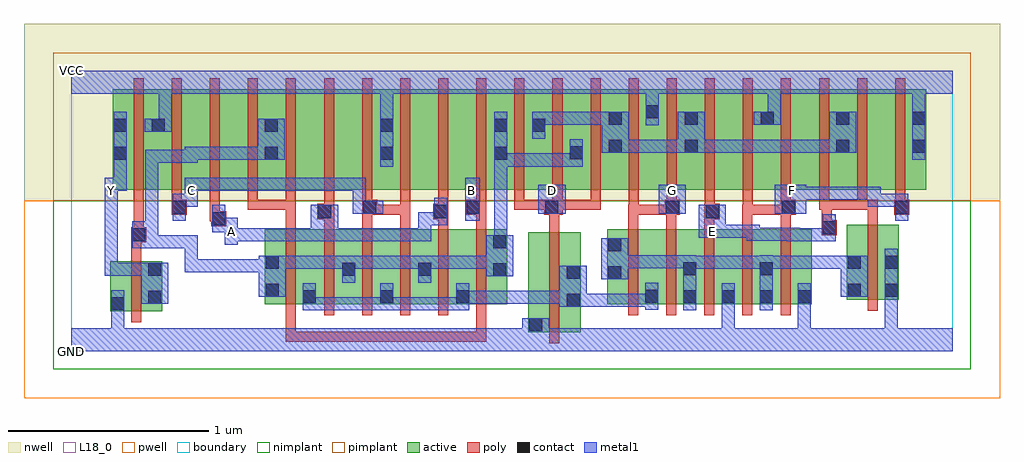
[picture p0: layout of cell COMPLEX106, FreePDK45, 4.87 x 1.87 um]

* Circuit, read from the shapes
.subckt COMPLEX106 A B C D E F G GND VCC Y
M1 Y n1 GND VSUBS nfet w=0.25u l=0.05u
M2 n2 B n1 VSUBS nfet w=0.375u l=0.05u m=2
M3 n1 A n2 VSUBS nfet w=0.375u l=0.05u m=2
M4 n2 C n1 VSUBS nfet w=0.375u l=0.05u m=2
M5 n2 D GND VSUBS nfet w=0.5u l=0.05u
M6 n2 G n3 VSUBS nfet w=0.375u l=0.05u m=2
M7 GND E n3 VSUBS nfet w=0.375u l=0.05u m=2
M8 n3 F GND VSUBS nfet w=0.375u l=0.05u m=2
M9 VCC n1 Y n4 pfet w=0.5u l=0.05u
M10 n5 C VCC n4 pfet w=0.5u l=0.05u
M11 n6 A n5 n4 pfet w=0.5u l=0.05u
M12 n1 B n6 n4 pfet w=0.5u l=0.05u
M13 n7 B n1 n4 pfet w=0.5u l=0.05u
M14 n8 A n7 n4 pfet w=0.5u l=0.05u
M15 VCC C n8 n4 pfet w=0.5u l=0.05u
M16 n9 C VCC n4 pfet w=0.5u l=0.05u
M17 n10 A n9 n4 pfet w=0.5u l=0.05u
M18 n1 B n10 n4 pfet w=0.5u l=0.05u
M19 n11 D n1 n4 pfet w=0.5u l=0.05u m=3
M20 VCC G n11 n4 pfet w=0.5u l=0.05u m=2
M21 n12 E n11 n4 pfet w=0.5u l=0.05u
M22 VCC F n12 n4 pfet w=0.5u l=0.05u
M23 n13 F VCC n4 pfet w=0.5u l=0.05u
M24 n11 E n13 n4 pfet w=0.5u l=0.05u
M25 n14 E n11 n4 pfet w=0.5u l=0.05u
M26 VCC F n14 n4 pfet w=0.5u l=0.05u
.ends

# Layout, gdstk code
import gdstk
lib = gdstk.Library(unit=1e-6, precision=1e-09)
def R(c, l, rs):  # rectangles x0, y0, x1, y1
    for r in rs: c.add(gdstk.rectangle(r[:2], r[2:], *l))
def A(c, l, x, y, w, h, nx, ny, dx, dy):  # array of equal rectangles
    R(c, l, [(x+i*dx, y+j*dy, x+i*dx+w, y+j*dy+h) for i in range(nx) for j in range(ny)])
active = (1, 0)
pwell = (2, 0)
nwell = (3, 0)
nimplant = (4, 0)
pimplant = (5, 0)
poly = (9, 0)
contact = (10, 0)
metal1 = (11, 0)
L18_0 = (18, 0)
boundary = (235, 0)

complex106 = lib.new_cell('COMPLEX106')
A(complex106, active, 1.347, 0.235, 0.265, 0.375, 3, 1, 0.19, 0)
A(complex106, active, 0.622, 0.807, 0.19, 0.5, 3, 1, 0.57, 0)
R(complex106, active, [(2.282,0.095,2.542,0.595), (2.282,0.095,2.357,0.577), (2.467,0.195,2.542,0.595), (0.195,0.2,0.27,0.45), (0.195,0.2,0.455,0.45), (0.38,0.2,0.455,0.45), (0.967,0.235,1.227,0.61), (0.967,0.235,1.042,0.61), (1.152,0.235,1.227,0.512), (1.152,0.235,1.422,0.61), (1.537,0.235,1.612,0.592), (1.917,0.235,2.177,0.61), (1.917,0.235,1.992,0.512), (2.675,0.235,2.935,0.61), (2.86,0.235,2.935,0.467), (2.86,0.235,3.125,0.61), (3.05,0.235,3.125,0.467), (3.05,0.235,3.317,0.61), (3.242,0.235,3.317,0.467), (3.242,0.235,3.505,0.61), (3.43,0.235,3.695,0.61), (3.43,0.235,3.505,0.497), (3.62,0.235,3.695,0.467), (3.87,0.257,4.13,0.632), (3.87,0.267,3.945,0.632), (4.055,0.267,4.13,0.632), (1.347,0.32,1.422,0.592), (1.727,0.32,1.802,0.592), (2.102,0.32,2.177,0.61), (2.675,0.32,2.75,0.61), (0.207,0.807,0.282,1.2), (0.207,0.807,0.472,1.307), (0.397,0.807,0.472,1.305), (0.397,0.807,0.622,1.307), (0.812,0.807,1.037,1.307), (0.962,0.807,1.192,1.307), (0.962,0.807,1.037,1.2), (1.382,0.807,1.612,1.307), (1.537,0.807,1.612,1.305), (1.537,0.807,1.762,1.307), (1.952,0.807,2.182,1.307), (2.107,0.807,2.182,1.2), (2.107,0.807,2.37,1.307), (2.295,0.807,2.37,1.2), (2.295,0.807,2.557,1.307), (2.482,0.807,2.752,1.307), (2.482,0.807,2.557,1.07), (2.677,0.807,2.937,1.307), (2.677,0.807,2.752,1.2), (2.862,0.807,2.937,1.305), (2.862,0.807,3.132,1.307), (3.057,0.807,3.282,1.307), (3.057,0.807,3.132,1.2), (3.282,0.807,3.512,1.307), (3.437,0.807,3.662,1.307), (3.437,0.807,3.512,1.307), (3.662,0.807,3.887,1.307), (3.812,0.807,4.042,1.307), (3.812,0.807,3.887,1.2), (4.042,0.807,4.267,1.307), (4.192,0.807,4.267,1.305)])
R(complex106, pwell, [(-0.235,-0.235,4.635,0.75)])
R(complex106, nwell, [(-0.235,0.75,4.635,1.635)])
R(complex106, nimplant, [(-0.09,-0.09,4.49,0.75)])
R(complex106, pimplant, [(-0.09,0.75,4.49,1.49)])
A(complex106, poly, 1.072, 0.18, 0.05, 0.485, 6, 1, 0.19, 0)
A(complex106, poly, 2.78, 0.18, 0.05, 0.485, 5, 1, 0.19, 0)
A(complex106, poly, 2.022, 0.707, 0.05, 0.095, 4, 1, 0.19, 0)
A(complex106, poly, 3.542, 0.707, 0.05, 0.095, 4, 1, 0.19, 0)
A(complex106, poly, 0.312, 0.752, 0.05, 0.61, 21, 1, 0.19, 0)
R(complex106, poly, [(2.387,0.04,2.437,0.65), (1.072,0.047,1.122,0.097), (1.072,0.047,1.122,0.23), (1.072,0.047,1.255,0.097), (1.205,0.047,1.255,0.097), (1.205,0.047,1.255,0.097), (1.205,0.047,1.255,0.097), (1.205,0.047,1.56,0.097), (1.51,0.047,1.56,0.097), (1.51,0.047,1.56,0.097), (1.51,0.047,1.56,0.097), (1.51,0.047,1.725,0.097), (1.675,0.047,1.725,0.097), (1.675,0.047,1.725,0.097), (1.675,0.047,1.725,0.097), (1.675,0.047,1.857,0.097), (1.807,0.047,1.857,0.097), (1.807,0.047,1.857,0.097), (1.807,0.047,1.857,0.097), (1.807,0.047,2.072,0.097), (2.022,0.047,2.072,0.097), (2.022,0.047,2.072,0.097), (2.022,0.047,2.072,0.097), (2.022,0.047,2.072,0.23), (0.3,0.145,0.35,0.505), (3.975,0.202,4.025,0.687), (0.3,0.455,0.35,0.595), (0.3,0.545,0.375,0.62), (0.312,0.57,0.362,0.62), (0.312,0.57,0.362,0.62), (0.312,0.57,0.362,0.802), (3.745,0.58,3.82,0.655), (2.387,0.6,2.437,0.732), (3.745,0.605,3.795,0.757), (1.072,0.615,1.122,0.757), (1.262,0.615,1.312,0.71), (1.452,0.615,1.502,0.732), (1.642,0.615,1.692,0.732), (1.832,0.615,1.882,0.71), (2.022,0.615,2.072,0.732), (2.78,0.615,2.83,0.732), (2.97,0.615,3.02,0.732), (3.16,0.615,3.21,0.71), (3.35,0.615,3.4,0.732), (3.54,0.615,3.59,0.732), (0.7,0.625,0.775,0.7), (3.975,0.637,4.025,0.757), (0.692,0.65,0.742,0.802), (0.692,0.65,0.75,0.7), (0.7,0.65,0.75,0.7), (1.227,0.66,1.312,0.735), (1.807,0.66,1.882,0.735), (3.16,0.66,3.237,0.735), (0.502,0.682,0.577,0.757), (1.452,0.682,1.527,0.757), (1.452,0.682,1.502,0.732), (1.452,0.682,1.502,0.732), (1.477,0.682,1.692,0.732), (1.642,0.682,1.692,0.732), (1.642,0.682,1.692,0.732), (1.642,0.682,1.692,0.732), (1.642,0.682,1.692,0.732), (1.642,0.682,1.692,0.732), (1.642,0.682,1.692,0.802), (1.97,0.682,2.072,0.757), (2.022,0.682,2.072,0.732), (2.022,0.682,2.072,0.732), (2.362,0.682,2.452,0.757), (2.387,0.682,2.437,0.732), (2.387,0.682,2.437,0.732), (2.78,0.682,2.832,0.732), (2.782,0.682,2.832,0.732), (2.782,0.682,2.832,0.732), (2.782,0.682,2.832,0.732), (2.782,0.682,2.832,0.732), (2.782,0.682,2.832,0.802), (2.782,0.682,3.02,0.732), (2.962,0.682,3.037,0.757), (2.97,0.682,3.02,0.732), (2.97,0.682,3.02,0.732), (3.35,0.682,3.402,0.732), (3.352,0.682,3.402,0.732), (3.352,0.682,3.402,0.732), (3.352,0.682,3.402,0.802), (3.352,0.682,3.59,0.732), (3.54,0.682,3.59,0.732), (3.54,0.682,3.59,0.732), (3.54,0.682,3.592,0.732), (3.542,0.682,3.617,0.757), (3.542,0.682,3.592,0.732), (4.107,0.682,4.182,0.757), (1.262,0.685,1.312,0.735), (1.262,0.685,1.312,0.735), (1.262,0.685,1.312,0.802), (1.832,0.685,1.882,0.735), (1.832,0.685,1.882,0.735), (1.832,0.685,1.882,0.802), (3.162,0.685,3.212,0.735), (3.162,0.685,3.212,0.735), (3.162,0.685,3.212,0.802), (0.502,0.707,0.552,0.802), (0.882,0.707,0.932,0.802), (0.882,0.707,0.932,0.757), (0.882,0.707,1.122,0.757), (1.072,0.707,1.122,0.802), (1.072,0.707,1.122,0.757), (1.072,0.707,1.122,0.757), (1.072,0.707,1.122,0.757), (1.072,0.707,1.122,0.757), (1.072,0.707,1.122,0.757), (1.452,0.707,1.502,0.802), (2.212,0.707,2.262,0.757), (2.212,0.707,2.412,0.757), (2.362,0.707,2.412,0.757), (2.362,0.707,2.412,0.757), (2.402,0.707,2.545,0.757), (2.495,0.707,2.545,0.757), (2.495,0.707,2.642,0.757), (2.592,0.707,2.642,0.757), (2.972,0.707,3.022,0.802), (3.732,0.707,3.795,0.757), (3.745,0.707,3.972,0.757), (3.922,0.707,3.972,0.757), (3.922,0.707,3.972,0.757), (3.922,0.707,3.992,0.757), (3.942,0.707,3.992,0.757), (3.942,0.707,4.025,0.757)])
A(complex106, contact, 2.682, 1.13, 0.065, 0.065, 3, 1, 0.38, 0)
R(complex106, contact, [(2.287,0.1,2.352,0.165), (0.2,0.205,0.265,0.27), (2.472,0.222,2.537,0.287), (0.385,0.237,0.45,0.302), (1.157,0.24,1.222,0.305), (1.542,0.24,1.607,0.305), (1.922,0.24,1.987,0.305), (3.055,0.24,3.12,0.305), (3.247,0.24,3.312,0.305), (3.435,0.24,3.5,0.305), (3.625,0.24,3.69,0.305), (2.865,0.242,2.93,0.307), (0.972,0.272,1.037,0.337), (3.875,0.272,3.94,0.337), (4.06,0.272,4.125,0.337), (2.68,0.36,2.745,0.425), (2.472,0.362,2.537,0.427), (2.107,0.375,2.172,0.44), (0.385,0.377,0.45,0.442), (1.352,0.377,1.417,0.442), (1.732,0.377,1.797,0.442), (3.055,0.38,3.12,0.445), (3.435,0.38,3.5,0.445), (0.972,0.412,1.037,0.477), (3.875,0.412,3.94,0.477), (4.06,0.412,4.125,0.477), (2.68,0.5,2.745,0.565), (2.107,0.515,2.172,0.58), (0.305,0.55,0.37,0.615), (3.75,0.585,3.815,0.65), (0.705,0.63,0.77,0.695), (1.232,0.665,1.297,0.73), (1.812,0.665,1.877,0.73), (3.167,0.665,3.232,0.73), (0.507,0.687,0.572,0.752), (1.457,0.687,1.522,0.752), (1.975,0.687,2.04,0.752), (2.367,0.687,2.432,0.752), (2.967,0.687,3.032,0.752), (3.547,0.687,3.612,0.752), (4.112,0.687,4.177,0.752), (0.212,0.955,0.277,1.02), (0.967,0.955,1.032,1.02), (1.542,0.955,1.607,1.02), (2.112,0.955,2.177,1.02), (2.487,0.957,2.552,1.022), (2.682,0.99,2.747,1.055), (3.062,0.99,3.127,1.055), (3.817,0.99,3.882,1.055), (4.197,0.99,4.262,1.055), (0.212,1.095,0.277,1.16), (0.402,1.095,0.467,1.16), (0.967,1.095,1.032,1.16), (1.542,1.095,1.607,1.16), (2.112,1.095,2.177,1.16), (2.3,1.095,2.365,1.16), (3.817,1.13,3.882,1.195), (4.197,1.13,4.262,1.195), (2.867,1.162,2.932,1.227)])
R(complex106, metal1, [(0,0,4.4,0.115), (0.2,0.05,0.265,0.235), (0.2,0.05,0.265,0.115), (0.2,0.05,0.265,0.115), (0.2,0.05,0.265,0.115), (0.2,0.05,0.265,0.115), (2.322,0.05,2.387,0.165), (3.247,0.05,3.312,0.115), (3.247,0.05,3.312,0.115), (3.247,0.05,3.312,0.27), (3.625,0.05,3.69,0.115), (3.625,0.05,3.69,0.115), (3.625,0.05,3.69,0.27), (4.06,0.05,4.125,0.115), (4.06,0.05,4.125,0.115), (4.06,0.05,4.125,0.302), (2.252,0.1,2.387,0.165), (0.2,0.17,0.265,0.305), (1.157,0.205,1.222,0.34), (1.157,0.205,1.222,0.27), (1.157,0.205,1.222,0.27), (1.157,0.205,1.47,0.27), (1.405,0.205,1.607,0.27), (1.405,0.205,1.47,0.27), (1.405,0.205,1.47,0.27), (1.405,0.205,1.47,0.27), (1.542,0.205,1.607,0.34), (1.542,0.205,1.607,0.27), (1.542,0.205,1.607,0.27), (1.542,0.205,1.797,0.27), (1.732,0.205,1.797,0.27), (1.732,0.205,1.797,0.27), (1.732,0.205,1.797,0.27), (1.732,0.205,1.987,0.27), (1.922,0.205,1.987,0.34), (3.055,0.205,3.12,0.48), (3.247,0.205,3.312,0.34), (3.435,0.205,3.5,0.48), (3.625,0.205,3.69,0.34), (2.865,0.207,2.93,0.342), (2.437,0.222,2.572,0.427), (2.507,0.222,2.572,0.287), (2.507,0.222,2.572,0.287), (2.507,0.222,2.792,0.287), (2.727,0.222,2.792,0.287), (2.727,0.222,2.792,0.287), (2.727,0.222,2.792,0.287), (2.727,0.222,2.93,0.287), (0.35,0.237,0.485,0.442), (1.922,0.237,1.987,0.302), (1.922,0.237,1.987,0.302), (1.922,0.237,2.177,0.302), (2.112,0.237,2.177,0.302), (2.112,0.237,2.177,0.302), (2.112,0.237,2.177,0.302), (2.112,0.237,2.365,0.302), (2.3,0.237,2.502,0.302), (2.3,0.237,2.365,0.302), (2.3,0.237,2.365,0.302), (2.3,0.237,2.365,0.302), (4.06,0.237,4.125,0.512), (0.937,0.272,1.072,0.477), (3.84,0.272,3.975,0.477), (1.352,0.342,1.417,0.477), (1.732,0.342,1.797,0.477), (2.645,0.36,2.78,0.565), (2.072,0.375,2.207,0.58), (0.167,0.377,0.232,0.442), (0.167,0.377,0.415,0.442), (0.167,0.377,0.232,0.797), (0.35,0.377,0.415,0.442), (0.35,0.377,0.415,0.442), (0.567,0.395,0.632,0.58), (0.567,0.395,0.632,0.46), (0.567,0.395,0.632,0.46), (0.567,0.395,0.632,0.46), (0.567,0.395,0.77,0.46), (0.705,0.395,0.907,0.46), (0.705,0.395,0.77,0.46), (0.705,0.395,0.77,0.46), (0.705,0.395,0.77,0.46), (0.842,0.395,0.907,0.46), (0.842,0.395,1.002,0.46), (1.007,0.412,1.072,0.477), (1.007,0.412,1.072,0.477), (1.007,0.412,1.222,0.477), (1.157,0.412,1.222,0.477), (1.157,0.412,1.332,0.477), (1.267,0.412,1.332,0.477), (1.267,0.412,1.417,0.477), (1.352,0.412,1.47,0.477), (1.405,0.412,1.47,0.477), (1.405,0.412,1.66,0.477), (1.595,0.412,1.797,0.477), (1.595,0.412,1.66,0.477), (1.595,0.412,1.66,0.477), (1.595,0.412,1.66,0.477), (1.732,0.412,1.797,0.477), (1.732,0.412,1.797,0.477), (1.732,0.412,1.935,0.477), (1.87,0.412,1.935,0.477), (1.87,0.412,1.935,0.477), (1.87,0.412,1.935,0.477), (1.87,0.412,2.137,0.477), (3.055,0.412,3.3,0.477), (3.235,0.412,3.3,0.477), (3.235,0.412,3.3,0.477), (3.235,0.412,3.3,0.477), (3.235,0.412,3.44,0.477), (3.375,0.412,3.44,0.477), (3.375,0.412,3.5,0.477), (3.435,0.412,3.637,0.477), (3.572,0.412,3.637,0.477), (3.572,0.412,3.637,0.477), (3.572,0.412,3.637,0.477), (3.572,0.412,3.902,0.477), (3.837,0.412,3.902,0.477), (3.837,0.412,3.905,0.477), (2.715,0.415,2.78,0.48), (2.715,0.415,2.78,0.48), (2.715,0.415,2.955,0.48), (2.89,0.415,2.955,0.48), (2.89,0.415,2.955,0.48), (2.89,0.415,2.955,0.48), (2.89,0.415,3.12,0.48), (0.305,0.515,0.37,0.65), (0.305,0.515,0.435,0.58), (0.37,0.515,0.435,0.58), (0.37,0.515,0.435,0.58), (0.37,0.515,0.435,0.58), (0.37,0.515,0.632,0.58), (0.37,0.515,0.435,1.005), (0.567,0.515,0.632,0.58), (0.567,0.515,0.632,0.58), (0.567,0.515,0.632,0.58), (2.112,0.515,2.177,0.58), (2.112,0.515,2.177,0.58), (2.112,0.515,2.177,0.58), (2.112,0.515,2.177,0.58), (2.112,0.515,2.177,0.985), (0.767,0.532,0.832,0.667), (0.767,0.55,0.907,0.615), (0.842,0.55,0.907,0.615), (0.842,0.55,1.085,0.615), (1.02,0.55,1.085,0.615), (1.02,0.55,1.085,0.615), (1.02,0.55,1.085,0.615), (1.02,0.55,1.262,0.615), (1.197,0.55,1.262,0.615), (1.197,0.55,1.262,0.615), (1.197,0.55,1.332,0.73), (1.267,0.55,1.47,0.615), (1.405,0.55,1.47,0.615), (1.405,0.55,1.47,0.615), (1.405,0.55,1.47,0.615), (1.405,0.55,1.66,0.615), (1.595,0.55,1.797,0.615), (1.595,0.55,1.66,0.615), (1.595,0.55,1.66,0.615), (1.595,0.55,1.66,0.615), (1.732,0.55,1.797,0.695), (3.572,0.55,3.637,0.615), (3.572,0.55,3.637,0.615), (3.572,0.55,3.815,0.615), (3.572,0.55,3.637,0.617), (3.75,0.55,3.815,0.685), (3.372,0.552,3.437,0.617), (3.372,0.552,3.437,0.617), (3.372,0.552,3.637,0.617), (3.372,0.552,3.437,0.632), (3.132,0.567,3.267,0.73), (3.202,0.567,3.3,0.632), (3.235,0.567,3.437,0.632), (3.235,0.567,3.3,0.632), (0.705,0.595,0.77,0.73), (0.705,0.602,0.832,0.667), (1.732,0.63,1.877,0.695), (1.812,0.63,1.877,0.765), (0.507,0.652,0.572,0.787), (1.967,0.652,2.04,0.867), (4.112,0.652,4.177,0.787), (1.405,0.687,1.487,0.752), (1.405,0.687,1.47,0.867), (1.422,0.687,1.557,0.752), (2.332,0.687,2.467,0.832), (2.932,0.687,3.067,0.832), (3.512,0.687,3.667,0.832), (0.507,0.722,0.632,0.787), (0.567,0.722,0.632,0.867), (3.975,0.722,4.177,0.787), (3.975,0.722,4.04,0.787), (3.975,0.722,4.04,0.787), (3.975,0.722,4.04,0.822), (0.167,0.732,0.232,0.867), (3.602,0.757,3.667,0.822), (3.602,0.757,3.667,0.822), (3.602,0.757,3.902,0.822), (3.837,0.757,3.902,0.822), (3.837,0.757,3.902,0.822), (3.837,0.757,3.902,0.822), (3.837,0.757,4.04,0.822), (0.167,0.802,0.232,0.867), (0.167,0.802,0.277,0.867), (0.212,0.802,0.277,0.985), (0.567,0.802,0.77,0.867), (0.705,0.802,0.907,0.867), (0.705,0.802,0.77,0.867), (0.705,0.802,0.77,0.867), (0.705,0.802,0.77,0.867), (0.842,0.802,0.907,0.867), (0.842,0.802,1.085,0.867), (1.02,0.802,1.085,0.867), (1.02,0.802,1.085,0.867), (1.02,0.802,1.085,0.867), (1.02,0.802,1.28,0.867), (1.215,0.802,1.28,0.867), (1.215,0.802,1.28,0.867), (1.215,0.802,1.28,0.867), (1.215,0.802,1.47,0.867), (0.212,0.92,0.277,1.195), (1.542,0.92,1.607,1.195), (2.112,0.92,2.177,1.195), (2.112,0.922,2.177,0.987), (2.112,0.922,2.177,0.987), (2.112,0.922,2.365,0.987), (2.3,0.922,2.365,0.987), (2.3,0.922,2.365,0.987), (2.3,0.922,2.365,0.987), (2.3,0.922,2.552,0.987), (2.487,0.922,2.552,1.057), (0.37,0.94,0.435,1.005), (0.37,0.94,0.632,1.005), (0.567,0.94,0.632,1.005), (0.567,0.94,0.632,1.005), (0.567,0.94,0.632,1.02), (0.567,0.955,0.77,1.02), (0.705,0.955,0.907,1.02), (0.705,0.955,0.77,1.02), (0.705,0.955,0.77,1.02), (0.705,0.955,0.77,1.02), (0.842,0.955,0.907,1.02), (0.842,0.955,0.997,1.02), (0.932,0.955,1.067,1.16), (4.197,0.955,4.262,1.23), (2.647,0.99,2.782,1.195), (2.717,0.99,2.782,1.055), (2.717,0.99,2.782,1.055), (2.717,0.99,2.955,1.055), (2.89,0.99,3.092,1.055), (2.89,0.99,2.955,1.055), (2.89,0.99,2.955,1.055), (2.89,0.99,2.955,1.055), (3.027,0.99,3.162,1.195), (3.097,0.99,3.3,1.055), (3.235,0.99,3.3,1.055), (3.235,0.99,3.3,1.055), (3.235,0.99,3.3,1.055), (3.235,0.99,3.44,1.055), (3.375,0.99,3.44,1.055), (3.375,0.99,3.44,1.055), (3.375,0.99,3.44,1.055), (3.375,0.99,3.677,1.055), (3.612,0.99,3.677,1.055), (3.612,0.99,3.677,1.055), (3.612,0.99,3.677,1.055), (3.612,0.99,3.847,1.055), (3.782,0.99,3.847,1.055), (3.782,0.99,3.847,1.055), (3.782,0.99,3.917,1.195), (2.3,1.06,2.365,1.195), (0.367,1.095,0.502,1.16), (0.437,1.095,0.502,1.35), (2.867,1.127,2.932,1.262), (1.542,1.13,1.607,1.35), (2.3,1.13,2.502,1.195), (2.3,1.13,2.365,1.195), (2.3,1.13,2.365,1.195), (2.437,1.13,2.502,1.195), (2.437,1.13,2.502,1.195), (2.437,1.13,2.502,1.195), (2.437,1.13,2.712,1.195), (3.407,1.13,3.542,1.195), (3.477,1.13,3.542,1.35), (4.197,1.165,4.262,1.35), (2.867,1.197,2.932,1.35), (0,1.285,4.4,1.4)])
A(complex106, L18_0, 2.367, 0.767, 0.065, 0.065, 3, 1, 0.6, 0)
R(complex106, L18_0, [(0,0,4.4,0.115), (0.2,0.05,0.265,0.115), (0.2,0.05,0.265,0.115), (0.2,0.05,0.265,0.115), (0.2,0.05,0.265,0.115), (0.2,0.05,0.265,0.235), (2.322,0.05,2.387,0.165), (3.247,0.05,3.312,0.115), (3.247,0.05,3.312,0.115), (3.247,0.05,3.312,0.27), (3.625,0.05,3.69,0.115), (3.625,0.05,3.69,0.115), (3.625,0.05,3.69,0.27), (4.06,0.05,4.125,0.115), (4.06,0.05,4.125,0.115), (4.06,0.05,4.125,0.302), (2.252,0.1,2.387,0.165), (0.2,0.17,0.265,0.305), (3.247,0.205,3.312,0.34), (3.625,0.205,3.69,0.34), (0.35,0.237,0.485,0.442), (4.06,0.237,4.125,0.512), (0.167,0.377,0.232,0.442), (0.167,0.377,0.232,0.797), (0.167,0.377,0.415,0.442), (0.35,0.377,0.415,0.442), (0.35,0.377,0.415,0.442), (0.767,0.532,0.832,0.667), (0.767,0.55,0.907,0.615), (0.842,0.55,0.907,0.615), (0.842,0.55,1.085,0.615), (1.02,0.55,1.085,0.615), (1.02,0.55,1.085,0.615), (1.02,0.55,1.085,0.615), (1.02,0.55,1.262,0.615), (1.197,0.55,1.262,0.615), (1.197,0.55,1.262,0.615), (1.197,0.55,1.332,0.73), (1.267,0.55,1.47,0.615), (1.405,0.55,1.47,0.615), (1.405,0.55,1.47,0.615), (1.405,0.55,1.47,0.615), (1.405,0.55,1.66,0.615), (1.595,0.55,1.66,0.615), (1.595,0.55,1.66,0.615), (1.595,0.55,1.66,0.615), (1.595,0.55,1.797,0.615), (1.732,0.55,1.797,0.695), (3.572,0.55,3.637,0.615), (3.572,0.55,3.637,0.615), (3.572,0.55,3.815,0.615), (3.572,0.55,3.637,0.617), (3.75,0.55,3.815,0.685), (3.372,0.552,3.437,0.617), (3.372,0.552,3.437,0.617), (3.372,0.552,3.437,0.632), (3.372,0.552,3.637,0.617), (0.767,0.567,0.832,0.632), (3.132,0.567,3.267,0.73), (3.167,0.567,3.232,0.632), (3.202,0.567,3.3,0.632), (3.235,0.567,3.3,0.632), (3.235,0.567,3.437,0.632), (0.705,0.595,0.77,0.73), (0.705,0.602,0.832,0.667), (1.732,0.63,1.877,0.695), (1.812,0.63,1.877,0.765), (0.507,0.652,0.572,0.787), (1.967,0.652,2.04,0.867), (4.112,0.652,4.177,0.787), (1.405,0.687,1.47,0.867), (1.405,0.687,1.487,0.752), (1.422,0.687,1.557,0.752), (2.332,0.687,2.467,0.832), (2.932,0.687,3.067,0.832), (3.512,0.687,3.667,0.832), (0.507,0.722,0.632,0.787), (0.567,0.722,0.632,0.867), (3.975,0.722,4.04,0.787), (3.975,0.722,4.04,0.787), (3.975,0.722,4.177,0.787), (3.975,0.722,4.04,0.822), (0.167,0.732,0.232,0.867), (3.602,0.757,3.667,0.822), (3.602,0.757,3.667,0.822), (3.602,0.757,3.902,0.822), (3.837,0.757,3.902,0.822), (3.837,0.757,3.902,0.822), (3.837,0.757,3.902,0.822), (3.837,0.757,4.04,0.822), (0.167,0.767,0.232,0.832), (0.567,0.767,0.632,0.832), (1.967,0.767,2.032,0.832), (0.167,0.802,0.232,0.867), (0.167,0.802,0.277,0.867), (0.212,0.802,0.277,0.985), (0.567,0.802,0.77,0.867), (0.705,0.802,0.77,0.867), (0.705,0.802,0.77,0.867), (0.705,0.802,0.77,0.867), (0.705,0.802,0.907,0.867), (0.842,0.802,0.907,0.867), (0.842,0.802,1.085,0.867), (1.02,0.802,1.085,0.867), (1.02,0.802,1.085,0.867), (1.02,0.802,1.085,0.867), (1.02,0.802,1.28,0.867), (1.215,0.802,1.28,0.867), (1.215,0.802,1.28,0.867), (1.215,0.802,1.28,0.867), (1.215,0.802,1.47,0.867), (0.212,0.92,0.277,1.195), (1.542,0.92,1.607,1.195), (4.197,0.955,4.262,1.23), (0.367,1.095,0.502,1.16), (0.437,1.095,0.502,1.35), (2.867,1.127,2.932,1.262), (1.542,1.13,1.607,1.35), (3.407,1.13,3.542,1.195), (3.477,1.13,3.542,1.35), (4.197,1.165,4.262,1.35), (2.867,1.197,2.932,1.35), (0,1.285,4.4,1.4)])
R(complex106, boundary, [(0,0,4.4,1.4)])
complex106.add(gdstk.Label('A', (0.8,0.6), layer=11, texttype=0))
complex106.add(gdstk.Label('B', (2,0.8), layer=11, texttype=0))
complex106.add(gdstk.Label('C', (0.6,0.8), layer=11, texttype=0))
complex106.add(gdstk.Label('D', (2.4,0.8), layer=11, texttype=0))
complex106.add(gdstk.Label('E', (3.2,0.6), layer=11, texttype=0))
complex106.add(gdstk.Label('F', (3.6,0.8), layer=11, texttype=0))
complex106.add(gdstk.Label('G', (3,0.8), layer=11, texttype=0))
complex106.add(gdstk.Label('Y', (0.2,0.8), layer=11, texttype=0))
complex106.add(gdstk.Label('VCC', (0,1.4), layer=11, texttype=0))
complex106.add(gdstk.Label('GND', (0,0), layer=11, texttype=0))

lib.write_gds('COMPLEX106.gds')
